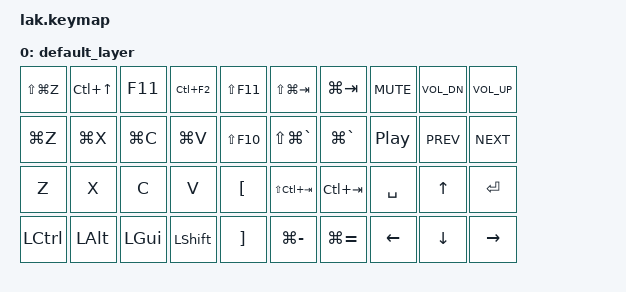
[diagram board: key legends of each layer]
#include <behaviors.dtsi>
#include <dt-bindings/zmk/keys.h>

#define DEFAULT 0
#define QWERTY  1


/ {
	combos {
		compatible = "zmk,combos";
		combo_bootloader {
			timeout-ms = <100>;
			key-positions = <24 27 29 34>;
			bindings = <&bootloader>;
		};
		combo_qwerty {
			timeout-ms = <100>;
			key-positions = <20 21 22 23>;
			bindings = <&tog QWERTY>;
    };	

	keymap {
		compatible = "zmk,keymap";

		default_layer {
// -------------------------------------------------------------------------
// ~/Desktop/lak.png

			bindings = <
	&kp LS(LG(Z)) &kp LC(UP) &kp F11   &kp LC(F2) &kp LS(F11) &kp LS(LG(TAB))   &kp LG(TAB)   &kp C_MUTE &kp C_VOL_DN &kp C_VOL_UP 
	&kp LG(Z)     &kp LG(X)  &kp LG(C) &kp LG(V)  &kp LS(F10) &kp LS(LG(GRAVE)) &kp LG(GRAVE) &kp C_PP   &kp C_PREV   &kp C_NEXT
	&kp Z         &kp X      &kp C     &kp V      &kp LBKT    &kp LS(LC(TAB))   &kp LC(TAB)   &kp SPACE  &kp UP       &kp RET
	&kp LCTRL     &kp LALT   &kp LGUI  &kp LSHFT  &kp RBKT    &kp LG(MINUS)     &kp LG(EQUAL) &kp LEFT   &kp DOWN     &kp RIGHT
			>;
		};

// 		qwerty_layer {
// // ------------------------------------------------------------------------
// // Q W E R T Y U I O P
// // A S D F G H J K L '
// // Z X C V B N M , . /
// // c a g s b s l d u r
// 			bindings = <
// 	&kp Q     &kp W    &kp E    &kp R     &kp T    &kp Y     &kp U    &kp I     &kp O   &kp P
// 	&kp A     &kp S    &kp D    &kp F     &kp G    &kp H     &kp J    &kp K     &kp L   &kp SQT
//     &kp Z     &kp X    &kp C    &kp V     &kp B    &kp N     &kp M    &kp COMMA &kp DOT &kp FSLH
// 	&kp LCTRL &kp LALT &kp LGUI &kp LSHFT &kp BSPC &kp SPACE &kp LEFT &kp DOWN  &kp UP  &kp RIGHT
// 			>;
// 		};
	};
};

